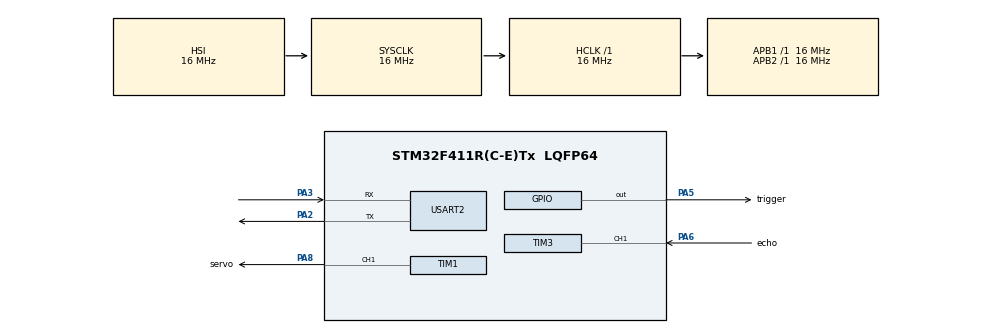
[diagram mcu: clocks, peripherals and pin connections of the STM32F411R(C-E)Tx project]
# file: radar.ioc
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Mcu.Family=STM32F4
Mcu.Name=STM32F411R(C-E)Tx
Mcu.Package=LQFP64
NVIC.PriorityGroup=NVIC_PRIORITYGROUP_4
NVIC.TIM3_IRQn=true\:0\:0\:false\:false\:true\:true\:true\:true
NVIC.USART2_IRQn=true\:0\:0\:false\:false\:true\:true\:true\:true
PA2.Mode=Asynchronous
PA2.Signal=USART2_TX
PA3.Mode=Asynchronous
PA3.Signal=USART2_RX
PA5.GPIO_Label=trigger
PA5.Signal=GPIO_Output
PA6.GPIO_Label=echo
PA6.Signal=S_TIM3_CH1
PA8.GPIO_Label=servo
PA8.Signal=S_TIM1_CH1
ProjectManager.HeapSize=0x200
ProjectManager.StackSize=0x400
ProjectManager.TargetToolchain=STM32CubeIDE
RCC.AHBFreq_Value=16000000
RCC.APB1Freq_Value=16000000
RCC.APB2Freq_Value=16000000
RCC.CortexFreq_Value=16000000
RCC.HSE_VALUE=25000000
RCC.HSI_VALUE=16000000
RCC.LSE_VALUE=32768
RCC.SYSCLKFreq_VALUE=16000000
RCC.VCOOutputFreq_Value=192000000
SH.S_TIM1_CH1.0=TIM1_CH1,PWM Generation1 CH1
SH.S_TIM3_CH1.0=TIM3_CH1,Input_Capture1_from_TI1
TIM1.Channel-PWM\ Generation1\ CH1=TIM_CHANNEL_1
TIM1.Period=20000-1
TIM1.Prescaler=16-1
TIM1.Pulse-PWM\ Generation1\ CH1=1500-1
TIM11.Prescaler=16-1
TIM3.Channel-Input_Capture1_from_TI1=TIM_CHANNEL_1
TIM3.Prescaler=16-1
USART2.VirtualMode=VM_ASYNC
VP_TIM11_VS_ClockSourceINT.Mode=Enable_Timer
VP_TIM1_VS_ClockSourceINT.Mode=Internal
VP_TIM3_VS_ClockSourceINT.Mode=Internal
board=custom

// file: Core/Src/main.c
/* USER CODE BEGIN Header */
/**
  ******************************************************************************
  * @file           : main.c
  * @brief          : Main program body
  ******************************************************************************
  * @attention
  *
  * Copyright (c) 2024 STMicroelectronics.
  * All rights reserved.
  *
  * This software is licensed under terms that can be found in the LICENSE file
  * in the root directory of this software component.
  * If no LICENSE file comes with this software, it is provided AS-IS.
  *
  ******************************************************************************
  */
/* USER CODE END Header */
#include "main.h"

/* USER CODE BEGIN Includes */
#include "uart.h"
/* USER CODE END Includes */

TIM_HandleTypeDef htim1;
TIM_HandleTypeDef htim3;
TIM_HandleTypeDef htim11;

UART_HandleTypeDef huart2;

void SystemClock_Config(void);
static void MX_GPIO_Init(void);
static void MX_TIM1_Init(void);
static void MX_TIM3_Init(void);
static void MX_TIM11_Init(void);
static void MX_USART2_UART_Init(void);

/* USER CODE BEGIN 0 */
long map(long x, long in_min, long in_max, long out_min, long out_max) {
  return (x - in_min) * (out_max - out_min) / (in_max - in_min) + out_min;
}

void delayUs(uint16_t time)//UltraSonic us Delay
{
	htim11.Instance->CNT=0;
	while(htim11.Instance->CNT<time);//while use TIM1 delay
}

uint32_t IC_Val1=0;
uint32_t IC_Val2=0;
uint32_t Difference=0;
uint8_t IsFirstCaptured=0;
uint32_t Distance=0;

void HAL_TIM_IC_CaptureCallback(TIM_HandleTypeDef *htim)
{
	if(htim->Channel==HAL_TIM_ACTIVE_CHANNEL_1)
	{
		//rising interrupt
		if(IsFirstCaptured==0)
		{
			//read Timer Value ( read CNT )
			IC_Val1=HAL_TIM_ReadCapturedValue(htim, TIM_CHANNEL_1);
			IsFirstCaptured=1;
			//next interrupt = falling event
			__HAL_TIM_SET_CAPTUREPOLARITY(htim, TIM_CHANNEL_1, TIM_INPUTCHANNELPOLARITY_FALLING);
		}
		//falling interrupt
		else if(IsFirstCaptured==1)
		{
			//read timer value(CNT)
			IC_Val2=HAL_TIM_ReadCapturedValue(htim, TIM_CHANNEL_1);
			htim->Instance->CNT=0;
			if(IC_Val2>IC_Val1)
				Difference=IC_Val2-IC_Val1;
			//2개의 값의 차이 값 개산
			else if(IC_Val1>IC_Val2)
				Difference=(0xffff-IC_Val1)+IC_Val2;
			//초음파 속도 고려 거리측정
			Distance=Difference*0.034/2;
			IsFirstCaptured=0;

			//next interrupt = rising event
			__HAL_TIM_SET_CAPTUREPOLARITY(htim, TIM_CHANNEL_1, TIM_INPUTCHANNELPOLARITY_RISING);

			__HAL_TIM_DISABLE_IT(htim,TIM_IT_CC1);
		}
	}
}

uint32_t getDistance()
{
	HAL_GPIO_WritePin(trigger_GPIO_Port, trigger_Pin, 1);
	delayUs(10);
	HAL_GPIO_WritePin(trigger_GPIO_Port, trigger_Pin, 0);

	//?��?��?��?�� ?��?��
	__HAL_TIM_ENABLE_IT(&htim3, TIM_IT_CC1);
	return Distance;

}
/* USER CODE END 0 */

int main(void)
{

  /* MCU Configuration--------------------------------------------------------*/

  /* Reset of all peripherals, Initializes the Flash interface and the Systick. */
  HAL_Init();

  /* Configure the system clock */
  SystemClock_Config();

  /* Initialize all configured peripherals */
  MX_GPIO_Init();
  MX_TIM1_Init();
  MX_TIM3_Init();
  MX_TIM11_Init();
  MX_USART2_UART_Init();
  /* USER CODE BEGIN 2 */
  initUart(&huart2);
  HAL_TIM_PWM_Start(&htim1, TIM_CHANNEL_1);
  HAL_TIM_IC_Start(&htim3, TIM_CHANNEL_1);
  HAL_TIM_Base_Start(&htim11);
  /* USER CODE END 2 */

  /* Infinite loop */
		/* USER CODE BEGIN WHILE */
		while (1)
		{
			protocol_t txData, rxData;
			rxData = receivePacket();
			if(rxData.command == 'R'){
				htim1.Instance->CCR1=map(rxData.data,0,180,500,2300);
				txData.command = 'A';
				txData.data = getDistance();
				transmitPacket(txData);
			}
			/* USER CODE END WHILE */

  }
}

void SystemClock_Config(void)
{
  RCC_OscInitTypeDef RCC_OscInitStruct = {0};
  RCC_ClkInitTypeDef RCC_ClkInitStruct = {0};

  /** Configure the main internal regulator output voltage
  */
  __HAL_RCC_PWR_CLK_ENABLE();
  __HAL_PWR_VOLTAGESCALING_CONFIG(PWR_REGULATOR_VOLTAGE_SCALE1);

  /** Initializes the RCC Oscillators according to the specified parameters
  * in the RCC_OscInitTypeDef structure.
  */
  RCC_OscInitStruct.OscillatorType = RCC_OSCILLATORTYPE_HSI;
  RCC_OscInitStruct.HSIState = RCC_HSI_ON;
  RCC_OscInitStruct.HSICalibrationValue = RCC_HSICALIBRATION_DEFAULT;
  RCC_OscInitStruct.PLL.PLLState = RCC_PLL_NONE;
  if (HAL_RCC_OscConfig(&RCC_OscInitStruct) != HAL_OK)
  {
    Error_Handler();
  }

  /** Initializes the CPU, AHB and APB buses clocks
  */
  RCC_ClkInitStruct.ClockType = RCC_CLOCKTYPE_HCLK|RCC_CLOCKTYPE_SYSCLK
                              |RCC_CLOCKTYPE_PCLK1|RCC_CLOCKTYPE_PCLK2;
  RCC_ClkInitStruct.SYSCLKSource = RCC_SYSCLKSOURCE_HSI;
  RCC_ClkInitStruct.AHBCLKDivider = RCC_SYSCLK_DIV1;
  RCC_ClkInitStruct.APB1CLKDivider = RCC_HCLK_DIV1;
  RCC_ClkInitStruct.APB2CLKDivider = RCC_HCLK_DIV1;

  if (HAL_RCC_ClockConfig(&RCC_ClkInitStruct, FLASH_LATENCY_0) != HAL_OK)
  {
    Error_Handler();
  }
}

static void MX_TIM1_Init(void)
{

  TIM_ClockConfigTypeDef sClockSourceConfig = {0};
  TIM_MasterConfigTypeDef sMasterConfig = {0};
  TIM_OC_InitTypeDef sConfigOC = {0};
  TIM_BreakDeadTimeConfigTypeDef sBreakDeadTimeConfig = {0};

  htim1.Instance = TIM1;
  htim1.Init.Prescaler = 16-1;
  htim1.Init.CounterMode = TIM_COUNTERMODE_UP;
  htim1.Init.Period = 20000-1;
  htim1.Init.ClockDivision = TIM_CLOCKDIVISION_DIV1;
  htim1.Init.RepetitionCounter = 0;
  htim1.Init.AutoReloadPreload = TIM_AUTORELOAD_PRELOAD_DISABLE;
  if (HAL_TIM_Base_Init(&htim1) != HAL_OK)
  {
    Error_Handler();
  }
  sClockSourceConfig.ClockSource = TIM_CLOCKSOURCE_INTERNAL;
  if (HAL_TIM_ConfigClockSource(&htim1, &sClockSourceConfig) != HAL_OK)
  {
    Error_Handler();
  }
  if (HAL_TIM_PWM_Init(&htim1) != HAL_OK)
  {
    Error_Handler();
  }
  sMasterConfig.MasterOutputTrigger = TIM_TRGO_RESET;
  sMasterConfig.MasterSlaveMode = TIM_MASTERSLAVEMODE_DISABLE;
  if (HAL_TIMEx_MasterConfigSynchronization(&htim1, &sMasterConfig) != HAL_OK)
  {
    Error_Handler();
  }
  sConfigOC.OCMode = TIM_OCMODE_PWM1;
  sConfigOC.Pulse = 1500-1;
  sConfigOC.OCPolarity = TIM_OCPOLARITY_HIGH;
  sConfigOC.OCNPolarity = TIM_OCNPOLARITY_HIGH;
  sConfigOC.OCFastMode = TIM_OCFAST_DISABLE;
  sConfigOC.OCIdleState = TIM_OCIDLESTATE_RESET;
  sConfigOC.OCNIdleState = TIM_OCNIDLESTATE_RESET;
  if (HAL_TIM_PWM_ConfigChannel(&htim1, &sConfigOC, TIM_CHANNEL_1) != HAL_OK)
  {
    Error_Handler();
  }
  sBreakDeadTimeConfig.OffStateRunMode = TIM_OSSR_DISABLE;
  sBreakDeadTimeConfig.OffStateIDLEMode = TIM_OSSI_DISABLE;
  sBreakDeadTimeConfig.LockLevel = TIM_LOCKLEVEL_OFF;
  sBreakDeadTimeConfig.DeadTime = 0;
  sBreakDeadTimeConfig.BreakState = TIM_BREAK_DISABLE;
  sBreakDeadTimeConfig.BreakPolarity = TIM_BREAKPOLARITY_HIGH;
  sBreakDeadTimeConfig.AutomaticOutput = TIM_AUTOMATICOUTPUT_DISABLE;
  if (HAL_TIMEx_ConfigBreakDeadTime(&htim1, &sBreakDeadTimeConfig) != HAL_OK)
  {
    Error_Handler();
  }
  HAL_TIM_MspPostInit(&htim1);

}

static void MX_TIM3_Init(void)
{

  TIM_ClockConfigTypeDef sClockSourceConfig = {0};
  TIM_MasterConfigTypeDef sMasterConfig = {0};
  TIM_IC_InitTypeDef sConfigIC = {0};

  htim3.Instance = TIM3;
  htim3.Init.Prescaler = 16-1;
  htim3.Init.CounterMode = TIM_COUNTERMODE_UP;
  htim3.Init.Period = 65535;
  htim3.Init.ClockDivision = TIM_CLOCKDIVISION_DIV1;
  htim3.Init.AutoReloadPreload = TIM_AUTORELOAD_PRELOAD_DISABLE;
  if (HAL_TIM_Base_Init(&htim3) != HAL_OK)
  {
    Error_Handler();
  }
  sClockSourceConfig.ClockSource = TIM_CLOCKSOURCE_INTERNAL;
  if (HAL_TIM_ConfigClockSource(&htim3, &sClockSourceConfig) != HAL_OK)
  {
    Error_Handler();
  }
  if (HAL_TIM_IC_Init(&htim3) != HAL_OK)
  {
    Error_Handler();
  }
  sMasterConfig.MasterOutputTrigger = TIM_TRGO_RESET;
  sMasterConfig.MasterSlaveMode = TIM_MASTERSLAVEMODE_DISABLE;
  if (HAL_TIMEx_MasterConfigSynchronization(&htim3, &sMasterConfig) != HAL_OK)
  {
    Error_Handler();
  }
  sConfigIC.ICPolarity = TIM_INPUTCHANNELPOLARITY_RISING;
  sConfigIC.ICSelection = TIM_ICSELECTION_DIRECTTI;
  sConfigIC.ICPrescaler = TIM_ICPSC_DIV1;
  sConfigIC.ICFilter = 0;
  if (HAL_TIM_IC_ConfigChannel(&htim3, &sConfigIC, TIM_CHANNEL_1) != HAL_OK)
  {
    Error_Handler();
  }

}

static void MX_TIM11_Init(void)
{

  htim11.Instance = TIM11;
  htim11.Init.Prescaler = 16-1;
  htim11.Init.CounterMode = TIM_COUNTERMODE_UP;
  htim11.Init.Period = 65535;
  htim11.Init.ClockDivision = TIM_CLOCKDIVISION_DIV1;
  htim11.Init.AutoReloadPreload = TIM_AUTORELOAD_PRELOAD_DISABLE;
  if (HAL_TIM_Base_Init(&htim11) != HAL_OK)
  {
    Error_Handler();
  }

}

static void MX_USART2_UART_Init(void)
{

  huart2.Instance = USART2;
  huart2.Init.BaudRate = 115200;
  huart2.Init.WordLength = UART_WORDLENGTH_8B;
  huart2.Init.StopBits = UART_STOPBITS_1;
  huart2.Init.Parity = UART_PARITY_NONE;
  huart2.Init.Mode = UART_MODE_TX_RX;
  huart2.Init.HwFlowCtl = UART_HWCONTROL_NONE;
  huart2.Init.OverSampling = UART_OVERSAMPLING_16;
  if (HAL_UART_Init(&huart2) != HAL_OK)
  {
    Error_Handler();
  }

}

static void MX_GPIO_Init(void)
{
  GPIO_InitTypeDef GPIO_InitStruct = {0};

  /* GPIO Ports Clock Enable */
  __HAL_RCC_GPIOA_CLK_ENABLE();

  /*Configure GPIO pin Output Level */
  HAL_GPIO_WritePin(trigger_GPIO_Port, trigger_Pin, GPIO_PIN_RESET);

  /*Configure GPIO pin : trigger_Pin */
  GPIO_InitStruct.Pin = trigger_Pin;
  GPIO_InitStruct.Mode = GPIO_MODE_OUTPUT_PP;
  GPIO_InitStruct.Pull = GPIO_NOPULL;
  GPIO_InitStruct.Speed = GPIO_SPEED_FREQ_LOW;
  HAL_GPIO_Init(trigger_GPIO_Port, &GPIO_InitStruct);

}

void Error_Handler(void)
{
  __disable_irq();
  while (1)
  {
  }
}
